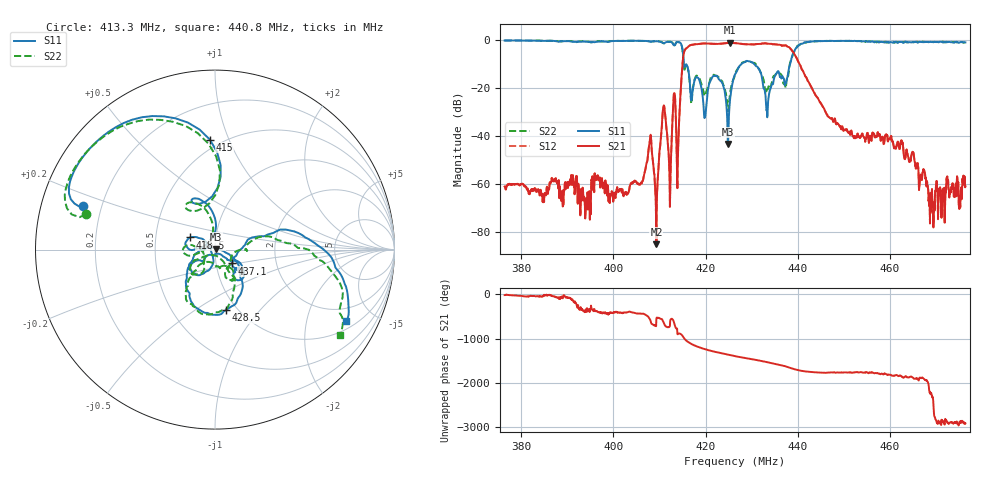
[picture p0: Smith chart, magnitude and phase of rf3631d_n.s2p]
!Keysight Technologies,E5080A,MY55200989,A.11.70.00
!Date: Wednesday, September 26, 2018 11:50:29
!Correction: S11(Full 2 Port(1,2))
!S21(Full 2 Port(1,2))
!S12(Full 2 Port(1,2))
!S22(Full 2 Port(1,2))
!S2P File: Measurements: S11, S21, S12, S22:
# Hz S  dB  R 50
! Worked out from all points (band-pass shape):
!   1601 points, 376.4 MHz to 476.4 MHz, reference 50 ohm
!   highest |S21| = -1.23 dB at 425.2 MHz (marker M1); lowest = -85.3 dB at 409.3 MHz (marker M2)
!   |S21| within 3 dB of the highest: 415.5 MHz to 438.7 MHz (23.17 MHz wide, 5.42 % of centre)
!   lowest |S11| = -43.4 dB at 424.9 MHz (marker M3), VSWR 1.01, Z = 50.6 + j0.395 ohm
!   |S11| at or under -10 dB: 415.3 MHz to 427.8 MHz (12.5 MHz wide, 2.97 % of centre); 430.5 MHz to 438.4 MHz (7.844 MHz wide, 1.81 % of centre)
!   |S22| runs from -29.7 to -0.2 dB; largest |S21 - S12| = 0.00054
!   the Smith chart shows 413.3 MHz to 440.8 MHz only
!   S11 on the Smith chart (normalised r, x): 413.3 MHz: 0.13, +0.16; 415 MHz: 0.43, +0.85; 418.5 MHz: 0.75, +0.10; 428.5 MHz: 0.89, -0.68; 437.1 MHz: 1.19, -0.19; 440.8 MHz: 1.32, -3.45
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3.764e8  -0.26 -118.9  -61.20 -21.7  -61.31 -23.7  -0.25 -120.3
3.930875e8  -0.69 -132.4  -67.22 7.2  -67.54 6.4  -0.64 -132.5
4.079625e8  -0.73 -163.2  -41.84 148.0  -41.84 147.9  -0.67 -162.7
4.093375e8  -0.58 -169.4  -85.32 175.1  -86.10 160.2  -0.55 -167.9
4.09775e8  -0.62 -172.7  -54.18 -171.4  -54.09 -171.9  -0.58 -170.9
4.108375e8  -1.32 -178.5  -28.27 96.0  -28.25 95.9  -1.41 -177.9
4.133375e8  -2.20 161.8  -22.74 21.0  -22.69 21.1  -2.56 164.8
4.140875e8  -0.93 143.3  -43.43 -173.4  -43.40 -173.5  -0.90 145.9
4.15025e8  -4.24 92.7  -9.75 138.9  -9.75 139.0  -4.55 93.6
4.164625e8  -15.14 90.1  -2.48 -13.2  -2.48 -13.2  -15.54 97.1
4.18525e8  -16.19 154.0  -1.70 -113.3  -1.70 -113.3  -15.62 173.5
4.249e8  -43.39 35.2  -1.28 77.2  -1.28 77.2  -29.71 -106.5
4.252125e8  -27.42 -8.5  -1.23 70.0  -1.23 70.1  -24.20 -58.7
4.264e8  -14.43 -42.6  -1.30 44.2  -1.31 44.2  -14.57 -55.7
4.284625e8  -9.29 -79.8  -1.77 3.8  -1.77 3.8  -9.13 -87.6
4.332125e8  -29.25 -118.4  -1.48 -88.1  -1.48 -88.1  -22.00 -92.7
4.3715e8  -18.35 -39.6  -2.34 -178.9  -2.34 -178.9  -18.60 -41.7
4.408375e8  -1.58 -28.6  -12.06 72.3  -12.06 72.3  -1.48 -34.5
4.430875e8  -0.72 -52.0  -20.14 44.0  -20.15 44.0  -0.62 -57.2
4.59775e8  -1.15 -98.3  -41.46 -11.9  -41.49 -11.8  -1.05 -100.3
4.69025e8  -0.91 -104.7  -64.45 -83.4  -64.35 -81.7  -0.70 -108.2
4.764e8  -1.06 -109.2  -61.12 -29.9  -60.77 -30.3  -0.89 -111.5
